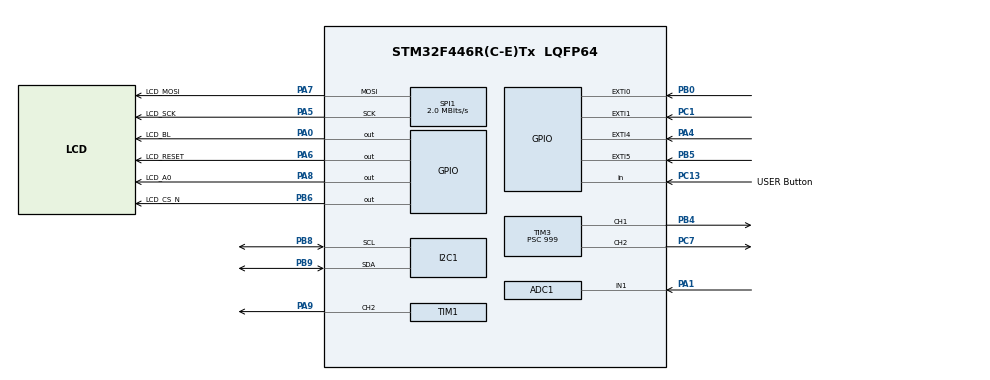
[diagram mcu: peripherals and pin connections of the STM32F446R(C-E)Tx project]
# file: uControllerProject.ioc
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ADC1.Channel-0\#ChannelRegularConversion=ADC_CHANNEL_1
ADC1.NbrOfConversionFlag=1
ADC1.Rank-0\#ChannelRegularConversion=1
ADC1.SamplingTime-0\#ChannelRegularConversion=ADC_SAMPLETIME_3CYCLES
ADC1.master=1
Mcu.Family=STM32F4
Mcu.Name=STM32F446R(C-E)Tx
Mcu.Package=LQFP64
NVIC.EXTI0_IRQn=true\:0\:0\:false\:false\:true\:true\:true
NVIC.EXTI1_IRQn=true\:0\:0\:false\:false\:true\:true\:true
NVIC.EXTI4_IRQn=true\:0\:0\:false\:false\:true\:true\:true
NVIC.EXTI9_5_IRQn=true\:0\:0\:false\:false\:true\:true\:true
NVIC.PriorityGroup=NVIC_PRIORITYGROUP_4
PA0-WKUP.GPIO_Label=LCD_BL
PA0-WKUP.Signal=GPIO_Output
PA1.Signal=ADCx_IN1
PA4.Signal=GPXTI4
PA5.GPIO_Label=LCD_SCK
PA5.Mode=TX_Only_Simplex_Unidirect_Master
PA5.Signal=SPI1_SCK
PA6.GPIO_Label=LCD_RESET
PA6.Signal=GPIO_Output
PA7.GPIO_Label=LCD_MOSI
PA7.Mode=TX_Only_Simplex_Unidirect_Master
PA7.Signal=SPI1_MOSI
PA8.GPIO_Label=LCD_A0
PA8.Signal=GPIO_Output
PA9.Signal=S_TIM1_CH2
PB0.Signal=GPXTI0
PB4.Signal=S_TIM3_CH1
PB5.Signal=GPXTI5
PB6.GPIO_Label=LCD_CS_N
PB6.Signal=GPIO_Output
PB8.Mode=I2C
PB8.Signal=I2C1_SCL
PB9.Mode=I2C
PB9.Signal=I2C1_SDA
PC1.Signal=GPXTI1
PC13.GPIO_Label=USER Button
PC13.Signal=GPIO_Input
PC7.Signal=S_TIM3_CH2
ProjectManager.HeapSize=0x200
ProjectManager.StackSize=0x400
ProjectManager.TargetToolchain=STM32CubeIDE
RCC.CortexFreq_Value=16000000
RCC.USBFreq_Value=96000000
RCC.VCOOutputFreq_Value=192000000
SH.ADCx_IN1.0=ADC1_IN1,IN1
SH.S_TIM1_CH2.0=TIM1_CH2,PWM Generation2 CH2
SH.S_TIM3_CH1.0=TIM3_CH1,PWM Generation1 CH1
SH.S_TIM3_CH2.0=TIM3_CH2,PWM Generation2 CH2
SPI1.BaudRatePrescaler=SPI_BAUDRATEPRESCALER_8
SPI1.CalculateBaudRate=2.0 MBits/s
SPI1.Direction=SPI_DIRECTION_2LINES
SPI1.Mode=SPI_MODE_MASTER
SPI1.VirtualType=VM_MASTER
TIM1.Channel-PWM\ Generation2\ CH2=TIM_CHANNEL_2
TIM1.Period=99
TIM1.Prescaler=999
TIM3.Channel-PWM\ Generation1\ CH1=TIM_CHANNEL_1
TIM3.Channel-PWM\ Generation2\ CH2=TIM_CHANNEL_2
TIM3.Period=99
TIM3.Prescaler=999
board=custom

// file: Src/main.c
/* USER CODE BEGIN Header */
/**
 ******************************************************************************
 * @file           : main.c
 * @brief          : Main program body
 ******************************************************************************
 * @attention
 *
 * <h2><center>&copy; Copyright (c) 2019 STMicroelectronics.
 * All rights reserved.</center></h2>
 *
 * This software component is licensed by ST under BSD 3-Clause license,
 * the "License"; You may not use this file except in compliance with the
 * License. You may obtain a copy of the License at:
 *                        opensource.org/licenses/BSD-3-Clause
 *
 ******************************************************************************
 */
/* USER CODE END Header */

#include "main.h"
#include "adc.h"
#include "i2c.h"
#include "spi.h"
#include "tim.h"
#include "gpio.h"

/* USER CODE BEGIN Includes */
#include <stdio.h>
#include "lcd_driver.h"
#include "rgb.h"
#include "flashSave.h"

/* USER CODE END Includes */

/* USER CODE BEGIN PD */
int 	ADC_POT_Right;
float 	celsius;
char 	charTemp[32];
float 	temperatureDisplay;

int flagTemp = 0;
int flagDebug = 0;

//bool flagSwitchUpPressed = false;

/* USER CODE END PD */

void SystemClock_Config(void);
/* USER CODE BEGIN PFP */
int fputc(int ch, FILE *f) {  ITM_SendChar(ch);  return(ch); }

/* USER CODE END PFP */

/* USER CODE BEGIN 0 */
void HAL_GPIO_EXTI_Callback(uint16_t GPIO_Pin) {
	if (GPIO_Pin == GPIO_PIN_4) {
		if(flagTemp == 2)
			flagTemp = 0;
		else
			flagTemp++;
	}
	if (GPIO_Pin == GPIO_PIN_0) {

		if(flagDebug==1)
			flagDebug = 0;
		else
			flagDebug++;
	}
	if (GPIO_Pin == GPIO_PIN_1)
		Write_Flash(celsius);

}
/* USER CODE END 0 */

int main(void)
{

	/* MCU Configuration--------------------------------------------------------*/

	/* Reset of all peripherals, Initializes the Flash interface and the Systick. */
	HAL_Init();

	/* Configure the system clock */
	SystemClock_Config();

	/* Initialize all configured peripherals */
	MX_GPIO_Init();
	MX_SPI1_Init();
	MX_I2C1_Init();
	MX_TIM1_Init();
	MX_TIM3_Init();
	MX_ADC1_Init();
	/* USER CODE BEGIN 2 */
	sendData(0xA5);

	// Initialise LCD and show "Welcome" top/left justified
	lcd_init();
	lcd_clear();

	lcd_setLine(127,0,127,31,1);
	lcd_setLine(0,0,0,31,1);
	lcd_show();

	/* USER CODE END 2 */

	/* Infinite loop */
	/* USER CODE BEGIN WHILE */
	while (1)
	{
		//Initialize the ADC for debug
		HAL_ADC_Start(&hadc1);
		HAL_ADC_PollForConversion(&hadc1, HAL_MAX_DELAY);
		ADC_POT_Right = HAL_ADC_GetValue(&hadc1)/40-40;

		int16_t TwoByteTemp;
		uint8_t byteTemperature[0];

		HAL_I2C_Master_Transmit(&hi2c1, 0x90, 0x00, 1, HAL_MAX_DELAY);
		HAL_I2C_Master_Receive(&hi2c1, 0x91, byteTemperature,2, HAL_MAX_DELAY);
		//		Need to combine the ByteTemp[1] and [0] into one
		TwoByteTemp = ((int16_t)byteTemperature[0]<<4) | (byteTemperature[1]>>4);

		//celsius = TwoByteTemp *0.0625;
		setRGB(celsius);
		//		HAL_Delay(50);
		if(flagDebug==0)
			celsius = TwoByteTemp *0.0625;
		else
			celsius = ADC_POT_Right;

		switch (flagTemp) {
		case 0:
			//Celsius
			lcd_clear();
			if (flagDebug==0)
				lcd_setString(4,4,"Celsius",LCD_FONT_8,false);
			else
				lcd_setString(4,4,"Celsius PotMod",LCD_FONT_8,false);
			temperatureDisplay = celsius;
			break;
		case 1:
			//Fahrenheit
			lcd_clear();
			if (flagDebug==0)
				lcd_setString(4,4,"Fahrenheit",LCD_FONT_8,false);
			else
				lcd_setString(4,4,"Fahrenheit PotMod",LCD_FONT_8,false);
			temperatureDisplay = (celsius*(9/5)) + 32;
			break;
		case 2:
			//Kelvin
			lcd_clear();
			if (flagDebug==0)
				lcd_setString(4,4,"Kelvin",LCD_FONT_8,false);
			else
				lcd_setString(4,4,"Kelvin PotMod",LCD_FONT_8,false);
			temperatureDisplay = celsius + 273.15;
			break;
		}
		lcd_setLine(127,0,127,31,1);
		lcd_setLine(0,0,0,31,1);
		sprintf(charTemp,"%.2f", temperatureDisplay);
		lcd_setString(4,18,charTemp,LCD_FONT_8,false);
		lcd_show();

		/* USER CODE END WHILE */

	}
}

void SystemClock_Config(void)
{
	RCC_OscInitTypeDef RCC_OscInitStruct = {0};
	RCC_ClkInitTypeDef RCC_ClkInitStruct = {0};

	/** Configure the main internal regulator output voltage
	 */
	__HAL_RCC_PWR_CLK_ENABLE();
	__HAL_PWR_VOLTAGESCALING_CONFIG(PWR_REGULATOR_VOLTAGE_SCALE3);
	/** Initializes the CPU, AHB and APB busses clocks
	 */
	RCC_OscInitStruct.OscillatorType = RCC_OSCILLATORTYPE_HSI;
	RCC_OscInitStruct.HSIState = RCC_HSI_ON;
	RCC_OscInitStruct.HSICalibrationValue = RCC_HSICALIBRATION_DEFAULT;
	RCC_OscInitStruct.PLL.PLLState = RCC_PLL_NONE;
	if (HAL_RCC_OscConfig(&RCC_OscInitStruct) != HAL_OK)
	{
		Error_Handler();
	}
	/** Initializes the CPU, AHB and APB busses clocks
	 */
	RCC_ClkInitStruct.ClockType = RCC_CLOCKTYPE_HCLK|RCC_CLOCKTYPE_SYSCLK
			|RCC_CLOCKTYPE_PCLK1|RCC_CLOCKTYPE_PCLK2;
	RCC_ClkInitStruct.SYSCLKSource = RCC_SYSCLKSOURCE_HSI;
	RCC_ClkInitStruct.AHBCLKDivider = RCC_SYSCLK_DIV1;
	RCC_ClkInitStruct.APB1CLKDivider = RCC_HCLK_DIV1;
	RCC_ClkInitStruct.APB2CLKDivider = RCC_HCLK_DIV1;

	if (HAL_RCC_ClockConfig(&RCC_ClkInitStruct, FLASH_LATENCY_0) != HAL_OK)
	{
		Error_Handler();
	}
}

void Error_Handler(void)
{
}

/************************ (C) COPYRIGHT STMicroelectronics *****END OF FILE****/
